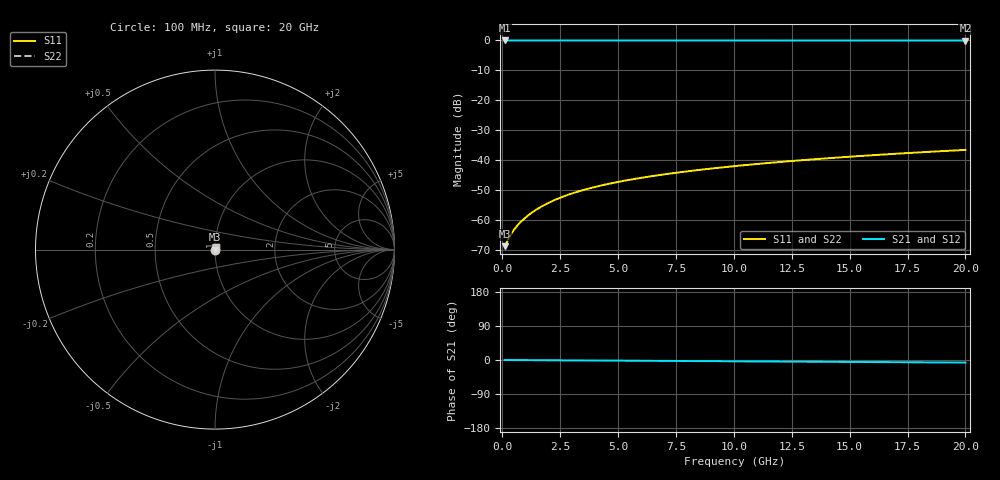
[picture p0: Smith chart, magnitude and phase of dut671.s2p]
! Touchstone file exported from HFSS 2026.1.0
!  File:  C:/ffzhzh/LocalFiles/Ansys_Project_Files/temp_train_TSV_671_1783027177_53980.aedt
!  Generated:  05:21:35 AM Jul  3, 2026
!  Design:  TSV
!  Project:  temp_train_TSV_671_1783027177_53980
! Variables:
!  h_bsmrdl = 2um
!  h_ox = 20um
!  h_rdl = 5um
!  h_sub = 69.73um
!  h_tmrdl = 5um
!  h_tsv = 69.73um
!  h_via = 3um
!  l_bsmrdl = 300um
!  l_sub = 410.2um
!  l_tmrdl = 200um
!  m_sub = 200um
!  pitch = 24.35um
!  r_tsv = 5.1um
!  s_tmrdl = 10um
!  w_bsmrdl = 18um
!  w_sub = 500um
!  w_tmrdl = 12um
!  x_tsv_center1 = 206um
!  x_tsv_center2 = 524um
!  x_tsv_center3 = 736um
!  x_tsv_center4 = 1054um
!  x_tsv_center5 = 1266um
!  x_tsv_center6 = 1584um
# GHz S MA R 50.000000
! Terminal data exported
! Port[1] = TSV1_1_T1
! Port[2] = TSV1_1_T2
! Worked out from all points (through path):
!   200 points, 100 MHz to 20 GHz, reference 50 ohm
!   highest |S21| = 0.00 dB at 100 MHz (marker M1); lowest = 0.0 dB at 20 GHz (marker M2)
!   lowest |S11| = -68.8 dB at 100 MHz (marker M3), VSWR 1.00, Z = 50 + j0.012 ohm
!   |S11| at or under -10 dB: start of sweep to end of sweep
!   |S22| runs from -68.8 to -36.6 dB; largest |S21 - S12| = 3.1e-15
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0.1  0.0003644 19.2  0.9997 -0.0  0.9997 -0.0  0.0003644 19.2
! Gamma 0 0 0 0
! Port Impedance 50 0 50 0
0.3  0.0005097 41.9  0.9996 -0.1  0.9996 -0.1  0.0005097 41.9
0.4  0.0005949 47.7  0.9996 -0.1  0.9996 -0.1  0.0005949 47.7
0.6  0.0007635 55.0  0.9996 -0.2  0.9996 -0.2  0.0007635 55.0
0.7  0.0008463 57.5  0.9995 -0.2  0.9995 -0.2  0.0008463 57.5
0.9  0.001011 61.5  0.9995 -0.3  0.9995 -0.3  0.001011 61.5
1.1  0.001177 64.4  0.9995 -0.4  0.9995 -0.4  0.001177 64.4
1.3  0.001344 66.6  0.9995 -0.5  0.9995 -0.5  0.001344 66.6
1.5  0.001513 68.4  0.9994 -0.5  0.9994 -0.5  0.001513 68.4
1.8  0.001766 70.2  0.9994 -0.6  0.9994 -0.6  0.001766 70.2
2.3  0.002185 72.2  0.9994 -0.8  0.9994 -0.8  0.002185 72.2
2.9  0.002681 73.6  0.9993 -1.0  0.9993 -1.0  0.002681 73.6
3.5  0.003164 74.3  0.9992 -1.2  0.9992 -1.2  0.003164 74.3
4.2  0.003712 74.9  0.9991 -1.4  0.9991 -1.4  0.003712 74.9
5  0.004321 75.2  0.999 -1.7  0.999 -1.7  0.004321 75.2
5.8  0.004914 75.5  0.9989 -2.0  0.9989 -2.0  0.004914 75.5
6.8  0.005642 75.8  0.9988 -2.3  0.9988 -2.3  0.005642 75.8
8.3  0.006714 76.1  0.9987 -2.8  0.9987 -2.8  0.006714 76.1
10.1  0.007985 76.4  0.9986 -3.4  0.9986 -3.4  0.007985 76.4
13.4  0.01029 76.5  0.9983 -4.5  0.9983 -4.5  0.01029 76.5
16.7  0.01257 76.1  0.9981 -5.6  0.9981 -5.6  0.01257 76.1
20  0.01482 75.5  0.9979 -6.7  0.9979 -6.7  0.01482 75.5
